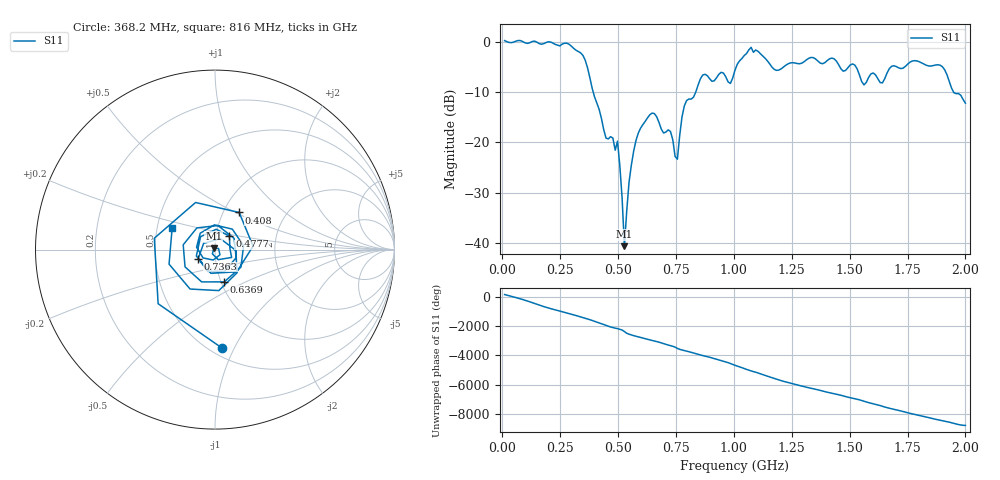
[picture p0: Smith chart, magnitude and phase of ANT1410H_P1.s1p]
!Created with skrf (http://scikit-rf.org).
# Hz S RI R 50.0
!freq ReS11 ImS11
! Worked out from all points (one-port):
!   201 points, 10 MHz to 2 GHz, reference 50 ohm
!   lowest |S11| = -40.6 dB at 527.4 MHz (marker M1), VSWR 1.02, Z = 49.4 + j0.666 ohm
!   |S11| at or under -10 dB: 392.5 MHz to 835.8 MHz (443.4 MHz wide, 72.2 % of centre); 1.948 GHz to end of sweep
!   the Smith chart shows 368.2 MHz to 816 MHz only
!   S11 on the Smith chart (normalised r, x): 368.2 MHz: 0.57, -0.89; 408 MHz: 1.19, +0.52; 477.6 MHz: 1.16, +0.18; 636.9 MHz: 1.03, -0.39; 736.4 MHz: 0.83, -0.08; 816 MHz: 0.60, +0.16
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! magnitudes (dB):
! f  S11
! 10 MHz  0.2
! 258.8 MHz  -0.5
! 368.2 MHz  -5.2
! 408 MHz  -12.2
! 447.8 MHz  -19.2
! 477.6 MHz  -19.2
! 487.6 MHz  -21.6
! 497.6 MHz  -19.8
! 507.5 MHz  -24.6
! 527.4 MHz  -40.6
! 547.3 MHz  -28.0
! 567.2 MHz  -21.8
! 636.9 MHz  -14.6
! 736.4 MHz  -19.5
! 756.2 MHz  -23.4
! 786.1 MHz  -12.8
! 816 MHz  -11.4
! 865.7 MHz  -6.7
! 985.1 MHz  -8.3
! 1.005 GHz  -5.7
! 1.075 GHz  -1.2
! 1.184 GHz  -5.7
! 1.254 GHz  -4.2
! 1.502 GHz  -4.7
! 1.562 GHz  -8.6
! 1.751 GHz  -4.5
! 1.901 GHz  -5.0
! 2 GHz  -12.2
